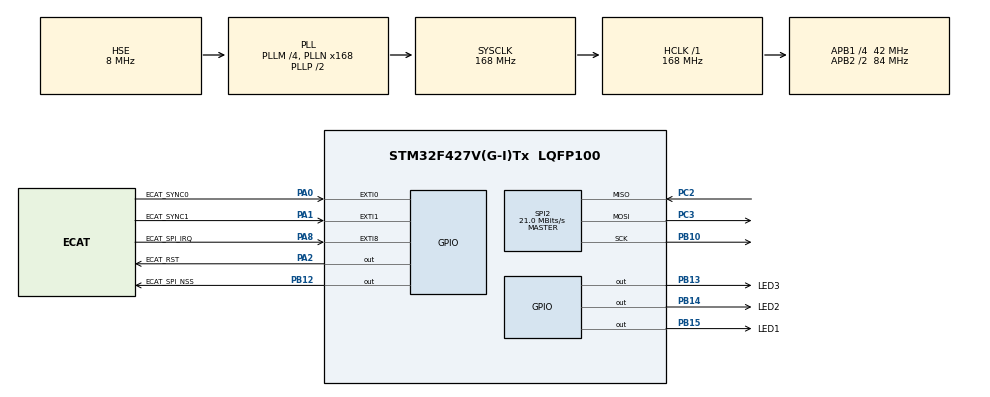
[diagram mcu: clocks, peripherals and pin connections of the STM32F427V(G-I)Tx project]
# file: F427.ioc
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Mcu.Family=STM32F4
Mcu.Name=STM32F427V(G-I)Tx
Mcu.Package=LQFP100
NVIC.EXTI0_IRQn=true\:1\:1\:true\:false\:true\:true\:true\:true
NVIC.EXTI1_IRQn=true\:1\:1\:true\:false\:true\:true\:true\:true
NVIC.EXTI9_5_IRQn=true\:0\:0\:false\:false\:true\:true\:true\:true
NVIC.PriorityGroup=NVIC_PRIORITYGROUP_2
NVIC.TIM2_IRQn=true\:0\:0\:false\:false\:true\:true\:true\:true
PA0/WKUP.GPIO_Label=ECAT_SYNC0
PA0/WKUP.Signal=GPXTI0
PA1.GPIO_Label=ECAT_SYNC1
PA1.Signal=GPXTI1
PA2.GPIO_Label=ECAT_RST
PA2.GPIO_PuPd=GPIO_PULLUP
PA2.GPIO_Speed=GPIO_SPEED_FREQ_LOW
PA2.PinState=GPIO_PIN_SET
PA2.Signal=GPIO_Output
PA8.GPIO_Label=ECAT_SPI_IRQ
PA8.Signal=GPXTI8
PB10.Mode=Full_Duplex_Master
PB10.Signal=SPI2_SCK
PB12.GPIO_Label=ECAT_SPI_NSS
PB12.GPIO_PuPd=GPIO_PULLUP
PB12.Signal=GPIO_Output
PB13.GPIO_Label=LED3
PB13.GPIO_PuPd=GPIO_PULLDOWN
PB13.Signal=GPIO_Output
PB14.GPIO_Label=LED2
PB14.GPIO_PuPd=GPIO_PULLDOWN
PB14.Signal=GPIO_Output
PB15.GPIO_Label=LED1
PB15.GPIO_PuPd=GPIO_PULLDOWN
PB15.Signal=GPIO_Output
PC2.Mode=Full_Duplex_Master
PC2.Signal=SPI2_MISO
PC3.Mode=Full_Duplex_Master
PC3.Signal=SPI2_MOSI
PH0/OSC_IN.Mode=HSE-External-Oscillator
PH0/OSC_IN.Signal=RCC_OSC_IN
PH1/OSC_OUT.Mode=HSE-External-Oscillator
PH1/OSC_OUT.Signal=RCC_OSC_OUT
ProjectManager.HeapSize=0x200
ProjectManager.StackSize=0x400
ProjectManager.TargetToolchain=Makefile
RCC.48MHZClocksFreq_Value=84000000
RCC.AHBFreq_Value=168000000
RCC.APB1CLKDivider=RCC_HCLK_DIV4
RCC.APB1Freq_Value=42000000
RCC.APB1TimFreq_Value=84000000
RCC.APB2CLKDivider=RCC_HCLK_DIV2
RCC.APB2Freq_Value=84000000
RCC.APB2TimFreq_Value=168000000
RCC.CortexFreq_Value=168000000
RCC.HCLKFreq_Value=168000000
RCC.HSE_VALUE=8000000
RCC.HSI_VALUE=16000000
RCC.LSE_VALUE=32768
RCC.PLLM=4
RCC.PLLN=168
RCC.PLLSourceVirtual=RCC_PLLSOURCE_HSE
RCC.SYSCLKFreq_VALUE=168000000
RCC.SYSCLKSource=RCC_SYSCLKSOURCE_PLLCLK
RCC.VCOOutputFreq_Value=336000000
SPI2.BaudRatePrescaler=SPI_BAUDRATEPRESCALER_2
SPI2.CLKPhase=SPI_PHASE_2EDGE
SPI2.CLKPolarity=SPI_POLARITY_HIGH
SPI2.CalculateBaudRate=21.0 MBits/s
SPI2.Direction=SPI_DIRECTION_2LINES
SPI2.Mode=SPI_MODE_MASTER
SPI2.VirtualType=VM_MASTER
TIM2.Period=2000
TIM2.Prescaler=41
VP_TIM2_VS_ClockSourceINT.Mode=Internal
board=custom

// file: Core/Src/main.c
/* USER CODE BEGIN Header */
/**
 ******************************************************************************
 * @file           : main.c
 * @brief          : Main program body
 ******************************************************************************
 * @attention
 *
 * Copyright (c) 2024 STMicroelectronics.
 * All rights reserved.
 *
 * This software is licensed under terms that can be found in the LICENSE file
 * in the root directory of this software component.
 * If no LICENSE file comes with this software, it is provided AS-IS.
 *
 ******************************************************************************
 */
/* USER CODE END Header */
#include "main.h"
#include "spi.h"
#include "tim.h"
#include "gpio.h"

/* USER CODE BEGIN Includes */

#include "ecat_def.h"
#include "applInterface.h"
#include "el9800appl.h"
#include "el9800hw.h"

/* USER CODE END Includes */

void SystemClock_Config(void);

int main(void)
{

  /* MCU Configuration--------------------------------------------------------*/

  /* Reset of all peripherals, Initializes the Flash interface and the Systick. */
  HAL_Init();

  /* Configure the system clock */
  SystemClock_Config();

  /* Initialize all configured peripherals */
  MX_GPIO_Init();
  MX_SPI2_Init();
  MX_TIM2_Init();
  /* USER CODE BEGIN 2 */

  HAL_TIM_Base_Start_IT(&htim2);
  /* USER CODE END 2 */

  /* Infinite loop */
  /* USER CODE BEGIN WHILE */

  HAL_GPIO_WritePin(ECAT_SPI_NSS_GPIO_Port,ECAT_RST_Pin,GPIO_PIN_SET);

  HW_Init();

  MainInit();

  while (1)
  {
    HAL_GPIO_WritePin(LED1_GPIO_Port,LED1_Pin,GPIO_PIN_SET);
    HAL_GPIO_WritePin(LED2_GPIO_Port,LED2_Pin,GPIO_PIN_SET);
    HAL_GPIO_WritePin(LED3_GPIO_Port,LED3_Pin,GPIO_PIN_SET);

    bRunApplication = TRUE;
    do
    {
      MainLoop();

    } while (bRunApplication == TRUE);

    HW_Release();

    /* USER CODE END WHILE */

  }
}

void SystemClock_Config(void)
{
  RCC_OscInitTypeDef RCC_OscInitStruct = {0};
  RCC_ClkInitTypeDef RCC_ClkInitStruct = {0};

  /** Configure the main internal regulator output voltage
  */
  __HAL_RCC_PWR_CLK_ENABLE();
  __HAL_PWR_VOLTAGESCALING_CONFIG(PWR_REGULATOR_VOLTAGE_SCALE1);

  /** Initializes the RCC Oscillators according to the specified parameters
  * in the RCC_OscInitTypeDef structure.
  */
  RCC_OscInitStruct.OscillatorType = RCC_OSCILLATORTYPE_HSE;
  RCC_OscInitStruct.HSEState = RCC_HSE_ON;
  RCC_OscInitStruct.PLL.PLLState = RCC_PLL_ON;
  RCC_OscInitStruct.PLL.PLLSource = RCC_PLLSOURCE_HSE;
  RCC_OscInitStruct.PLL.PLLM = 4;
  RCC_OscInitStruct.PLL.PLLN = 168;
  RCC_OscInitStruct.PLL.PLLP = RCC_PLLP_DIV2;
  RCC_OscInitStruct.PLL.PLLQ = 4;
  if (HAL_RCC_OscConfig(&RCC_OscInitStruct) != HAL_OK)
  {
    Error_Handler();
  }

  /** Initializes the CPU, AHB and APB buses clocks
  */
  RCC_ClkInitStruct.ClockType = RCC_CLOCKTYPE_HCLK|RCC_CLOCKTYPE_SYSCLK
                              |RCC_CLOCKTYPE_PCLK1|RCC_CLOCKTYPE_PCLK2;
  RCC_ClkInitStruct.SYSCLKSource = RCC_SYSCLKSOURCE_PLLCLK;
  RCC_ClkInitStruct.AHBCLKDivider = RCC_SYSCLK_DIV1;
  RCC_ClkInitStruct.APB1CLKDivider = RCC_HCLK_DIV4;
  RCC_ClkInitStruct.APB2CLKDivider = RCC_HCLK_DIV2;

  if (HAL_RCC_ClockConfig(&RCC_ClkInitStruct, FLASH_LATENCY_5) != HAL_OK)
  {
    Error_Handler();
  }
}

void Error_Handler(void)
{
  __disable_irq();
  while (1)
  {
  }
}
